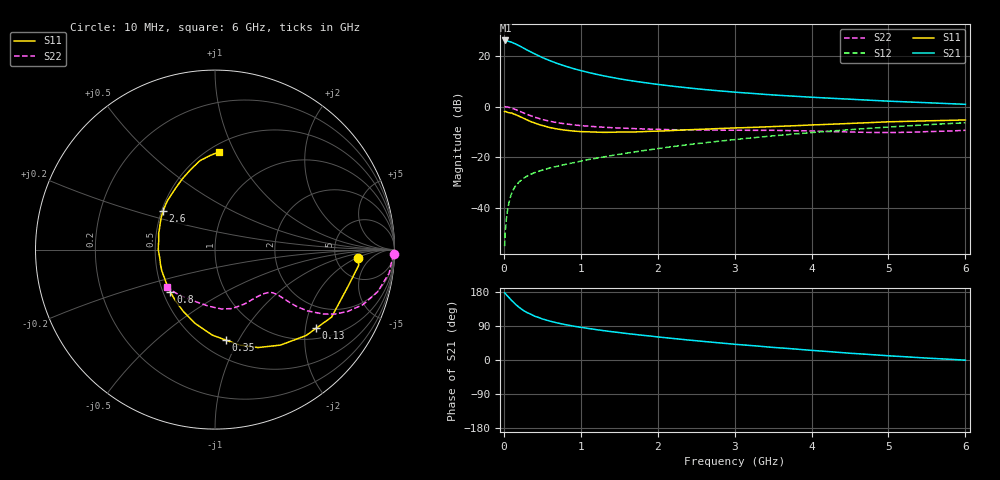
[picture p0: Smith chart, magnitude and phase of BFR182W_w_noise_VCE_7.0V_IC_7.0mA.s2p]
! Infineon Technologies  Discrete & RF Semiconductors
! BFR182W
! VCE =  7.0 V,  IC =  7.0 mA
! Common Emitter S-Parameters:  Jan 2017
# GHz  S  MA  R  50
!  f  S11  S21  S12  S22
! GHz  MAG  ANG  MAG  ANG  MAG  ANG  MAG  ANG
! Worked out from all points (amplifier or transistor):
!   77 points, 10 MHz to 6 GHz, reference 50 ohm
!   highest |S21| = 26.0 dB at 20 MHz (marker M1)
!   |S21| within 3 dB of that: start of sweep to 256.6 MHz
!   unconditionally stable (mu >= 1): 1.226 GHz to 2.728 GHz
!   at 130 MHz: K = 0.22, MSG = 28.6 dB, |S12| = -32.3 dB
!   at 2.2 GHz: K = 1.03, MAG = 10.7 dB, |S12| = -15.7 dB
!   at 6 GHz: K = 0.84, MSG = 3.6 dB, |S12| = -6.3 dB
!   lowest NFmin = 0.95 dB at 450 MHz
!   S11 on the Smith chart (normalised r, x): 10 MHz: 8.30, -2.01; 130 MHz: 1.28, -2.30; 350 MHz: 0.65, -0.88; 800 MHz: 0.55, -0.29; 2.6 GHz: 0.51, +0.25; 6 GHz: 0.56, +0.87
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0.01  0.7958 -3.2  19.83 177.2  0.0018 88.7  0.9979 -1.5
0.02  0.8056 -6.2  19.97 175.2  0.0037 88.2  0.9886 -3.1
0.05  0.7695 -15.3  19.46 168.3  0.0095 81.9  0.9793 -7.7
0.1  0.7506 -30.1  18.48 157.3  0.0195 75.5  0.9356 -14.6
0.13  0.7142 -37.8  17.6 151.5  0.0242 71.4  0.9001 -18.1
0.15  0.6977 -43.3  17.12 147.4  0.0274 69.4  0.8783 -20.5
0.2  0.645 -55.6  15.68 138.8  0.0331 66.0  0.8169 -24.9
0.25  0.5961 -66.3  14.32 131.3  0.0384 62.0  0.7583 -28.3
0.3  0.5473 -75.9  12.99 125.3  0.0429 59.1  0.7038 -30.7
0.35  0.507 -83.3  11.9 120.9  0.0466 58.2  0.6612 -32.0
0.4  0.4766 -91.9  10.89 115.7  0.0503 57.5  0.619 -33.5
0.5  0.4247 -105.5  9.222 108.4  0.0563 56.7  0.558 -34.8
0.6  0.3867 -117.2  7.984 102.5  0.0622 57.0  0.5136 -35.3
0.8  0.3438 -136.2  6.24 93.3  0.0731 59.2  0.4572 -35.6
1.1  0.319 -158.3  4.685 83.2  0.0909 60.8  0.4117 -36.4
1.5  0.3158 -179.7  3.526 72.4  0.1152 62.8  0.3791 -39.3
2.1  0.3334 157.5  2.619 58.9  0.1565 62.9  0.3537 -47.6
2.6  0.3597 143.4  2.17 48.9  0.1933 61.6  0.345 -56.9
3.1  0.3842 131.7  1.876 40.0  0.2323 59.2  0.3422 -66.6
4.1  0.4407 112.9  1.5 24.0  0.3167 52.5  0.328 -86.5
5.1  0.5064 98.3  1.261 9.9  0.4044 43.6  0.31 -115.4
6  0.5456 87.4  1.108 -0.4  0.4815 34.6  0.3417 -141.9
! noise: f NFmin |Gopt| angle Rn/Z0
0.45  0.95  0.17  35  0.16
0.9  1.04  0.15  63  0.15
1.9  1.57  0.18  174  0.13
2.4  1.84  0.19  -178  0.18
